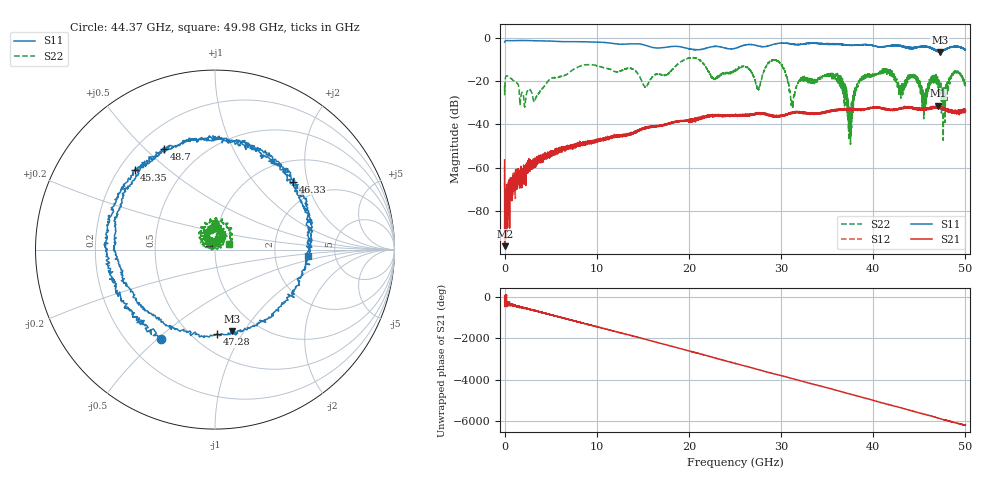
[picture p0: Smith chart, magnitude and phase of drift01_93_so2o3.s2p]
!Created with skrf (http://scikit-rf.org).
# Hz S RI R 50.0
!freq ReS11 ImS11 ReS21 ImS21 ReS12 ImS12 ReS22 ImS22
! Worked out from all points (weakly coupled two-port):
!   10001 points, 300 kHz to 50 GHz, reference 50 ohm
!   highest |S21| = -31.44 dB at 47.04 GHz (marker M1); lowest = -96.1 dB at 10.3 MHz (marker M2)
!   lowest |S11| = -6.7 dB at 47.21 GHz (marker M3), VSWR 2.74, Z = 38.3 - j44.4 ohm
!   |S11| at or under -10 dB: nowhere
!   |S22| runs from -49.2 to -9.2 dB; largest |S21 - S12| = 0.0036
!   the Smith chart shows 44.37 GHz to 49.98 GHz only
!   S11 on the Smith chart (normalised r, x): 44.37 GHz: 0.34, -0.51; 45.35 GHz: 0.26, +0.39; 46.33 GHz: 1.45, +1.64; 47.28 GHz: 0.65, -0.78; 48.7 GHz: 0.31, +0.57; 49.98 GHz: 3.14, -0.30
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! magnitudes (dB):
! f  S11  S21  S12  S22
! 300 kHz  -2.1  -56.4  -59.1  -22.3
! 10.3 MHz  -2.1  -96.1  -72.3  -25.7
! 3.29 GHz  -1.5  -58.1  -57.8  -28.9
! 8.335 GHz  -1.9  -49.1  -49.0  -12.9
! 16.67 GHz  -4.8  -40.8  -40.8  -16.7
! 25 GHz  -5.0  -35.7  -35.7  -15.4
! 29.6 GHz  -2.8  -36.3  -36.2  -10.7
! 31.24 GHz  -3.0  -34.4  -34.7  -31.3
! 33.34 GHz  -2.6  -34.6  -35.0  -19.9
! 36.08 GHz  -3.0  -33.4  -33.5  -17.9
! 37.47 GHz  -3.6  -33.5  -33.2  -36.7
! 38.66 GHz  -3.3  -33.4  -33.2  -20.3
! 41.67 GHz  -3.9  -33.2  -33.2  -15.7
! 44.37 GHz  -4.7  -32.3  -32.5  -17.2
! 45.35 GHz  -4.0  -32.9  -33.1  -27.6
! 46.33 GHz  -4.8  -32.1  -32.3  -19.8
! 47.04 GHz  -6.3  -31.4  -32.0  -22.0
! 47.21 GHz  -6.7  -32.5  -32.3  -25.5
! 47.28 GHz  -6.5  -32.0  -32.5  -21.9
! 48.7 GHz  -4.1  -34.1  -33.7  -16.3
! 49.98 GHz  -5.7  -33.9  -33.9  -21.3
! 50 GHz  -5.5  -33.5  -33.5  -21.8
